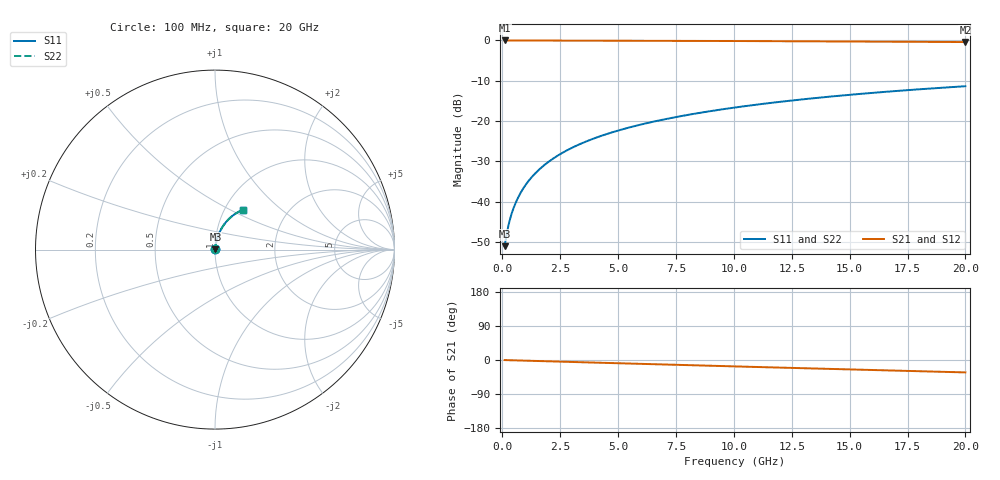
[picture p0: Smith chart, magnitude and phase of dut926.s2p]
! Touchstone file exported from HFSS 2026.1.0
!  File:  C:/ffzhzh/LocalFiles/Ansys_Project_Files/temp_train_BSMRDL_926_1783171846_55132.aedt
!  Generated:  09:31:59 PM Jul  4, 2026
!  Design:  BSMRDL
!  Project:  temp_train_BSMRDL_926_1783171846_55132
! Variables:
!  h_bsmrdl = 4.16um
!  h_ox = 20um
!  h_rdl = 5um
!  h_sub = 80um
!  h_tmrdl = 5um
!  h_tsv = 80um
!  h_via = 3um
!  l_bsmrdl = 492.03um
!  l_sub = 892.03um
!  l_tmrdl = 200um
!  m_sub = 200um
!  pitch = 40.4um
!  r_tsv = 6um
!  s_tmrdl = 10um
!  w_bsmrdl = 20.84um
!  w_sub = 500um
!  w_tmrdl = 12um
!  x_tsv_center1 = 206um
!  x_tsv_center2 = 718.87um
!  x_tsv_center3 = 930.87um
!  x_tsv_center4 = 1443.74um
!  x_tsv_center5 = 1655.74um
!  x_tsv_center6 = 2168.61um
# GHz S MA R 50.000000
! Terminal data exported
! Port[1] = BSM_RDL1_1_T1
! Port[2] = BSM_RDL1_1_T2
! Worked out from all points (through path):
!   200 points, 100 MHz to 20 GHz, reference 50 ohm
!   highest |S21| = -0.02 dB at 100 MHz (marker M1); lowest = -0.4 dB at 20 GHz (marker M2)
!   group delay of S21, straight-line fit = 4.54 ps
!   lowest |S11| = -51.1 dB at 100 MHz (marker M3), VSWR 1.01, Z = 50.2 + j0.174 ohm
!   |S11| at or under -10 dB: start of sweep to end of sweep
!   |S22| runs from -51.1 to -11.4 dB; largest |S21 - S12| = 4.2e-15
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0.1  0.002799 38.3  0.9978 -0.2  0.9978 -0.2  0.002799 38.3
! Gamma 0 0 0 0
! Port Impedance 50 0 50 0
0.2  0.004125 55.5  0.9977 -0.4  0.9977 -0.4  0.004125 55.5
0.3  0.005574 63.4  0.9975 -0.5  0.9975 -0.5  0.005576 63.4
0.4  0.00704 68.0  0.9974 -0.7  0.9974 -0.7  0.007042 68.0
0.5  0.008511 71.1  0.9973 -0.9  0.9973 -0.9  0.008515 71.1
0.6  0.009991 73.3  0.9973 -1.1  0.9973 -1.1  0.009994 73.3
0.8  0.01298 76.2  0.9972 -1.4  0.9972 -1.4  0.01298 76.2
1.1  0.0175 78.5  0.997 -1.9  0.997 -1.9  0.01751 78.5
1.3  0.02054 79.4  0.9969 -2.3  0.9969 -2.3  0.02054 79.4
1.6  0.02511 80.2  0.9967 -2.8  0.9967 -2.8  0.02511 80.2
2.1  0.03273 80.6  0.9962 -3.6  0.9962 -3.6  0.03273 80.6
2.7  0.04184 80.5  0.9956 -4.7  0.9956 -4.7  0.04184 80.5
3.5  0.05389 79.8  0.9946 -6.0  0.9946 -6.0  0.05389 79.8
4.2  0.06431 78.9  0.9936 -7.2  0.9936 -7.2  0.06431 78.9
5  0.07608 77.8  0.9923 -8.6  0.9923 -8.6  0.07608 77.8
5.9  0.08914 76.5  0.9907 -10.1  0.9907 -10.1  0.08914 76.5
6.8  0.102 75.2  0.989 -11.6  0.989 -11.6  0.102 75.1
8.3  0.1231 72.9  0.9859 -14.1  0.9859 -14.1  0.1231 72.9
10.1  0.1477 70.2  0.9817 -17.0  0.9817 -17.0  0.1477 70.1
13.4  0.1911 65.2  0.9732 -22.4  0.9732 -22.4  0.1911 65.1
16.7  0.2319 60.2  0.9635 -27.6  0.9635 -27.6  0.2319 60.1
20  0.2699 55.3  0.9531 -32.7  0.9531 -32.7  0.2698 55.2
